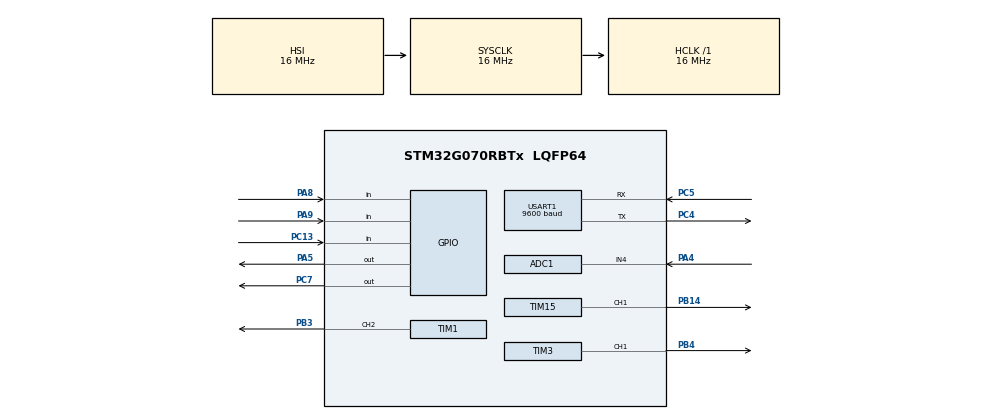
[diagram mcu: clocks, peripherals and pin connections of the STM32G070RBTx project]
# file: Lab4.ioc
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ADC1.Channel-0\#ChannelRegularConversion=ADC_CHANNEL_4
ADC1.NbrOfConversionFlag=1
ADC1.Rank-0\#ChannelRegularConversion=1
ADC1.SamplingTime-0\#ChannelRegularConversion=ADC_SAMPLINGTIME_COMMON_1
ADC1.SelectedChannel=ADC_CHANNEL_4
ADC1.master=1
Mcu.Family=STM32G0
Mcu.Name=STM32G070RBTx
Mcu.Package=LQFP64
NVIC.ADC1_IRQn=true\:0\:0\:false\:false\:true\:true\:true
PA4.Mode=IN4
PA4.Signal=ADC1_IN4
PA5.Signal=GPIO_Output
PA8.Signal=GPIO_Input
PA9.Signal=GPIO_Input
PB14.Signal=S_TIM15_CH1
PB3.Signal=S_TIM1_CH2
PB4.Signal=S_TIM3_CH1
PC13.Signal=GPIO_Input
PC4.Mode=Asynchronous
PC4.Signal=USART1_TX
PC5.Mode=Asynchronous
PC5.Signal=USART1_RX
PC7.Signal=GPIO_Output
ProjectManager.HeapSize=0x200
ProjectManager.StackSize=0x400
ProjectManager.TargetToolchain=EWARM V8.32
RCC.AHBFreq_Value=16000000
RCC.CortexFreq_Value=16000000
RCC.EXTERNAL_CLOCK_VALUE=48000
RCC.HCLKFreq_Value=16000000
RCC.HSE_VALUE=8000000
RCC.HSI_VALUE=16000000
RCC.LSE_VALUE=32768
RCC.SYSCLKFreq_VALUE=16000000
RCC.VCOOutputFreq_Value=128000000
SH.S_TIM15_CH1.0=TIM15_CH1,PWM Generation1 CH1
SH.S_TIM1_CH2.0=TIM1_CH2,PWM Generation2 CH2
SH.S_TIM3_CH1.0=TIM3_CH1,PWM Generation1 CH1
TIM1.Channel-PWM\ Generation2\ CH2=TIM_CHANNEL_2
TIM15.Channel-PWM\ Generation1\ CH1=TIM_CHANNEL_1
TIM3.Channel-PWM\ Generation1\ CH1=TIM_CHANNEL_1
USART1.BaudRate=9600
USART1.VirtualMode-Asynchronous=VM_ASYNC
VP_SYS_VS_DBSignals.Mode=DisableDeadBatterySignals
VP_TIM15_VS_ClockSourceINT.Mode=Internal
VP_TIM1_VS_ClockSourceINT.Mode=Internal
VP_TIM3_VS_ClockSourceINT.Mode=Internal
board=custom

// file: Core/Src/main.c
/* USER CODE BEGIN Header */
/**
  ******************************************************************************
  * @file           : main.c
  * @brief          : Main program body
  ******************************************************************************
  * @attention
  *
  * <h2><center>&copy; Copyright (c) 2021 STMicroelectronics.
  * All rights reserved.</center></h2>
  *
  * This software component is licensed by ST under BSD 3-Clause license,
  * the "License"; You may not use this file except in compliance with the
  * License. You may obtain a copy of the License at:
  *                        opensource.org/licenses/BSD-3-Clause
  *
  ******************************************************************************
  */
/* USER CODE END Header */
#include "main.h"

/* USER CODE BEGIN Includes */
#include "KeyboardHoldRepeat.h"
#include "waveform_16.h"

/* USER CODE END Includes */

ADC_HandleTypeDef hadc1;

TIM_HandleTypeDef htim1;
TIM_HandleTypeDef htim3;
TIM_HandleTypeDef htim15;

UART_HandleTypeDef huart1;

/* USER CODE BEGIN PV */
// scheduler stuff
extern uint8_t ten_mS_Flag;
extern uint8_t twentyfive_mS_Flag;
extern uint8_t hundred_mS_Flag;
extern uint8_t one_S_Flag;

// LED Control
TIM_OC_InitTypeDef rConfigOC = {0}; // timer 1
TIM_OC_InitTypeDef gConfigOC = {0}; // timer 3
TIM_OC_InitTypeDef bConfigOC = {0}; // timer 15

#define LED_RAMP_TABLE half_sine_table_16_256
//#define LED_RAMP_TABLE linear_ramp_table_16_256
//#define LED_RAMP_TABLE triangle_wave_table_16_256
#define R_INDEX_START 0
#define G_INDEX_START 86
#define B_INDEX_START 172
uint8_t rIndex = R_INDEX_START;
uint8_t gIndex = G_INDEX_START;
uint8_t bIndex = B_INDEX_START;
uint8_t rampRed = true;
uint8_t rampGreen = true;
uint8_t rampBlue = true;

// Keyboard
uint8_t keyCode = NO_KEY_PRESSED;

/* USER CODE END PV */

void SystemClock_Config(void);
static void MX_GPIO_Init(void);
static void MX_ADC1_Init(void);
static void MX_TIM1_Init(void);
static void MX_TIM3_Init(void);
static void MX_TIM15_Init(void);
static void MX_USART1_UART_Init(void);
/* USER CODE BEGIN PFP */
void InitValuesPWM(void);
void SetRedLedLevel(uint16_t r_level);
void SetGreenLedLevel(uint16_t g_level);
void SetBlueLedLevel(uint16_t b_level);
/* USER CODE END PFP */

int main(void)
{

  /* MCU Configuration--------------------------------------------------------*/

  /* Reset of all peripherals, Initializes the Flash interface and the Systick. */
  HAL_Init();

  /* Configure the system clock */
  SystemClock_Config();

  /* Initialize all configured peripherals */
  MX_GPIO_Init();
  MX_ADC1_Init();
  MX_TIM1_Init();
  MX_TIM3_Init();
  MX_TIM15_Init();
  MX_USART1_UART_Init();
  /* USER CODE BEGIN 2 */
  HAL_UART_Transmit(&huart1,"Mornin'!\r\n", 10, 1000);
  void InitValuesPWM(void);

  HAL_TIM_PWM_Start_IT(&htim15, TIM_CHANNEL_1);
  HAL_TIM_PWM_Start_IT(&htim3, TIM_CHANNEL_1);
  HAL_TIM_PWM_Start_IT(&htim1, TIM_CHANNEL_2);

  SetRedLedLevel(38000);
  SetGreenLedLevel(38000);
  SetBlueLedLevel(38000);

  while(1);

  /* USER CODE END 2 */

  /* Infinite loop */
  /* USER CODE BEGIN WHILE */
  while (1)
  {
    //---------------------------------
    // 10mS Tasks
    if (ten_mS_Flag) {
      ten_mS_Flag = false;

    }  // end of 10mS Tasks
    //---------------------------------

    //---------------------------------
    // 25mS Tasks
    if (twentyfive_mS_Flag) {
      twentyfive_mS_Flag = false;

      keyCode = ScanKeyboard();
      DebounceKeyCode(keyCode);

      // If we've gotten a valid debounced keyCode, process it
      if (processKeyCode == true) {
        ProcessKeyCode(keyCode);
      }

    }  // end of 25mS Tasks
    //---------------------------------

    //---------------------------------
    // 100mS Tasks
    if (hundred_mS_Flag) {
      hundred_mS_Flag = false;

      HAL_ADC_Start_IT(&hadc1);

      if (rampRed == true) {
        SetRedLedLevel(LED_RAMP_TABLE[rIndex]);
        rIndex++;
      }

      if (rampGreen == true) {
        SetGreenLedLevel(LED_RAMP_TABLE[gIndex]);
        gIndex++;
      }

      if (rampBlue == true) {
        SetBlueLedLevel(LED_RAMP_TABLE[bIndex]);
        bIndex++;
      }

    }  // end of 100mS Tasks
    //---------------------------------

    //---------------------------------
    // 1 Sec Tasks
    if (one_S_Flag) {
      one_S_Flag = false;

    } // end of 1Sec Tasks
    //---------------------------------

    //---------------------------------
    // Every time through the loop

    // end Every time through the loop
    //---------------------------------

    /* USER CODE END WHILE */

  }
}

void SystemClock_Config(void)
{
  RCC_OscInitTypeDef RCC_OscInitStruct = {0};
  RCC_ClkInitTypeDef RCC_ClkInitStruct = {0};
  RCC_PeriphCLKInitTypeDef PeriphClkInit = {0};

  /** Configure the main internal regulator output voltage
  */
  HAL_PWREx_ControlVoltageScaling(PWR_REGULATOR_VOLTAGE_SCALE1);
  /** Initializes the RCC Oscillators according to the specified parameters
  * in the RCC_OscInitTypeDef structure.
  */
  RCC_OscInitStruct.OscillatorType = RCC_OSCILLATORTYPE_HSI;
  RCC_OscInitStruct.HSIState = RCC_HSI_ON;
  RCC_OscInitStruct.HSIDiv = RCC_HSI_DIV1;
  RCC_OscInitStruct.HSICalibrationValue = RCC_HSICALIBRATION_DEFAULT;
  RCC_OscInitStruct.PLL.PLLState = RCC_PLL_NONE;
  if (HAL_RCC_OscConfig(&RCC_OscInitStruct) != HAL_OK)
  {
    Error_Handler();
  }
  /** Initializes the CPU, AHB and APB buses clocks
  */
  RCC_ClkInitStruct.ClockType = RCC_CLOCKTYPE_HCLK|RCC_CLOCKTYPE_SYSCLK
                              |RCC_CLOCKTYPE_PCLK1;
  RCC_ClkInitStruct.SYSCLKSource = RCC_SYSCLKSOURCE_HSI;
  RCC_ClkInitStruct.AHBCLKDivider = RCC_SYSCLK_DIV1;
  RCC_ClkInitStruct.APB1CLKDivider = RCC_HCLK_DIV1;

  if (HAL_RCC_ClockConfig(&RCC_ClkInitStruct, FLASH_LATENCY_0) != HAL_OK)
  {
    Error_Handler();
  }
  /** Initializes the peripherals clocks
  */
  PeriphClkInit.PeriphClockSelection = RCC_PERIPHCLK_USART1|RCC_PERIPHCLK_ADC;
  PeriphClkInit.Usart1ClockSelection = RCC_USART1CLKSOURCE_PCLK1;
  PeriphClkInit.AdcClockSelection = RCC_ADCCLKSOURCE_SYSCLK;
  if (HAL_RCCEx_PeriphCLKConfig(&PeriphClkInit) != HAL_OK)
  {
    Error_Handler();
  }
}

static void MX_ADC1_Init(void)
{

  ADC_ChannelConfTypeDef sConfig = {0};

  /** Configure the global features of the ADC (Clock, Resolution, Data Alignment and number of conversion)
  */
  hadc1.Instance = ADC1;
  hadc1.Init.ClockPrescaler = ADC_CLOCK_SYNC_PCLK_DIV2;
  hadc1.Init.Resolution = ADC_RESOLUTION_12B;
  hadc1.Init.DataAlign = ADC_DATAALIGN_RIGHT;
  hadc1.Init.ScanConvMode = ADC_SCAN_DISABLE;
  hadc1.Init.EOCSelection = ADC_EOC_SINGLE_CONV;
  hadc1.Init.LowPowerAutoWait = DISABLE;
  hadc1.Init.LowPowerAutoPowerOff = DISABLE;
  hadc1.Init.ContinuousConvMode = DISABLE;
  hadc1.Init.NbrOfConversion = 1;
  hadc1.Init.DiscontinuousConvMode = DISABLE;
  hadc1.Init.ExternalTrigConv = ADC_SOFTWARE_START;
  hadc1.Init.ExternalTrigConvEdge = ADC_EXTERNALTRIGCONVEDGE_NONE;
  hadc1.Init.DMAContinuousRequests = DISABLE;
  hadc1.Init.Overrun = ADC_OVR_DATA_PRESERVED;
  hadc1.Init.SamplingTimeCommon1 = ADC_SAMPLETIME_1CYCLE_5;
  hadc1.Init.SamplingTimeCommon2 = ADC_SAMPLETIME_1CYCLE_5;
  hadc1.Init.OversamplingMode = DISABLE;
  hadc1.Init.TriggerFrequencyMode = ADC_TRIGGER_FREQ_HIGH;
  if (HAL_ADC_Init(&hadc1) != HAL_OK)
  {
    Error_Handler();
  }
  /** Configure Regular Channel
  */
  sConfig.Channel = ADC_CHANNEL_4;
  sConfig.Rank = ADC_REGULAR_RANK_1;
  sConfig.SamplingTime = ADC_SAMPLINGTIME_COMMON_1;
  if (HAL_ADC_ConfigChannel(&hadc1, &sConfig) != HAL_OK)
  {
    Error_Handler();
  }

}

static void MX_TIM1_Init(void)
{

  TIM_ClockConfigTypeDef sClockSourceConfig = {0};
  TIM_MasterConfigTypeDef sMasterConfig = {0};
  TIM_OC_InitTypeDef sConfigOC = {0};
  TIM_BreakDeadTimeConfigTypeDef sBreakDeadTimeConfig = {0};

  htim1.Instance = TIM1;
  htim1.Init.Prescaler = 0;
  htim1.Init.CounterMode = TIM_COUNTERMODE_UP;
  htim1.Init.Period = 65535;
  htim1.Init.ClockDivision = TIM_CLOCKDIVISION_DIV1;
  htim1.Init.RepetitionCounter = 0;
  htim1.Init.AutoReloadPreload = TIM_AUTORELOAD_PRELOAD_DISABLE;
  if (HAL_TIM_Base_Init(&htim1) != HAL_OK)
  {
    Error_Handler();
  }
  sClockSourceConfig.ClockSource = TIM_CLOCKSOURCE_INTERNAL;
  if (HAL_TIM_ConfigClockSource(&htim1, &sClockSourceConfig) != HAL_OK)
  {
    Error_Handler();
  }
  if (HAL_TIM_PWM_Init(&htim1) != HAL_OK)
  {
    Error_Handler();
  }
  sMasterConfig.MasterOutputTrigger = TIM_TRGO_RESET;
  sMasterConfig.MasterOutputTrigger2 = TIM_TRGO2_RESET;
  sMasterConfig.MasterSlaveMode = TIM_MASTERSLAVEMODE_DISABLE;
  if (HAL_TIMEx_MasterConfigSynchronization(&htim1, &sMasterConfig) != HAL_OK)
  {
    Error_Handler();
  }
  sConfigOC.OCMode = TIM_OCMODE_PWM1;
  sConfigOC.Pulse = 0;
  sConfigOC.OCPolarity = TIM_OCPOLARITY_HIGH;
  sConfigOC.OCNPolarity = TIM_OCNPOLARITY_HIGH;
  sConfigOC.OCFastMode = TIM_OCFAST_DISABLE;
  sConfigOC.OCIdleState = TIM_OCIDLESTATE_RESET;
  sConfigOC.OCNIdleState = TIM_OCNIDLESTATE_RESET;
  if (HAL_TIM_PWM_ConfigChannel(&htim1, &sConfigOC, TIM_CHANNEL_2) != HAL_OK)
  {
    Error_Handler();
  }
  sBreakDeadTimeConfig.OffStateRunMode = TIM_OSSR_DISABLE;
  sBreakDeadTimeConfig.OffStateIDLEMode = TIM_OSSI_DISABLE;
  sBreakDeadTimeConfig.LockLevel = TIM_LOCKLEVEL_OFF;
  sBreakDeadTimeConfig.DeadTime = 0;
  sBreakDeadTimeConfig.BreakState = TIM_BREAK_DISABLE;
  sBreakDeadTimeConfig.BreakPolarity = TIM_BREAKPOLARITY_HIGH;
  sBreakDeadTimeConfig.BreakFilter = 0;
  sBreakDeadTimeConfig.BreakAFMode = TIM_BREAK_AFMODE_INPUT;
  sBreakDeadTimeConfig.Break2State = TIM_BREAK2_DISABLE;
  sBreakDeadTimeConfig.Break2Polarity = TIM_BREAK2POLARITY_HIGH;
  sBreakDeadTimeConfig.Break2Filter = 0;
  sBreakDeadTimeConfig.Break2AFMode = TIM_BREAK_AFMODE_INPUT;
  sBreakDeadTimeConfig.AutomaticOutput = TIM_AUTOMATICOUTPUT_DISABLE;
  if (HAL_TIMEx_ConfigBreakDeadTime(&htim1, &sBreakDeadTimeConfig) != HAL_OK)
  {
    Error_Handler();
  }
  HAL_TIM_MspPostInit(&htim1);

}

static void MX_TIM3_Init(void)
{

  TIM_ClockConfigTypeDef sClockSourceConfig = {0};
  TIM_MasterConfigTypeDef sMasterConfig = {0};
  TIM_OC_InitTypeDef sConfigOC = {0};

  htim3.Instance = TIM3;
  htim3.Init.Prescaler = 0;
  htim3.Init.CounterMode = TIM_COUNTERMODE_UP;
  htim3.Init.Period = 65535;
  htim3.Init.ClockDivision = TIM_CLOCKDIVISION_DIV1;
  htim3.Init.AutoReloadPreload = TIM_AUTORELOAD_PRELOAD_DISABLE;
  if (HAL_TIM_Base_Init(&htim3) != HAL_OK)
  {
    Error_Handler();
  }
  sClockSourceConfig.ClockSource = TIM_CLOCKSOURCE_INTERNAL;
  if (HAL_TIM_ConfigClockSource(&htim3, &sClockSourceConfig) != HAL_OK)
  {
    Error_Handler();
  }
  if (HAL_TIM_PWM_Init(&htim3) != HAL_OK)
  {
    Error_Handler();
  }
  sMasterConfig.MasterOutputTrigger = TIM_TRGO_RESET;
  sMasterConfig.MasterSlaveMode = TIM_MASTERSLAVEMODE_DISABLE;
  if (HAL_TIMEx_MasterConfigSynchronization(&htim3, &sMasterConfig) != HAL_OK)
  {
    Error_Handler();
  }
  sConfigOC.OCMode = TIM_OCMODE_PWM1;
  sConfigOC.Pulse = 0;
  sConfigOC.OCPolarity = TIM_OCPOLARITY_HIGH;
  sConfigOC.OCFastMode = TIM_OCFAST_DISABLE;
  if (HAL_TIM_PWM_ConfigChannel(&htim3, &sConfigOC, TIM_CHANNEL_1) != HAL_OK)
  {
    Error_Handler();
  }
  HAL_TIM_MspPostInit(&htim3);

}

static void MX_TIM15_Init(void)
{

  TIM_ClockConfigTypeDef sClockSourceConfig = {0};
  TIM_MasterConfigTypeDef sMasterConfig = {0};
  TIM_OC_InitTypeDef sConfigOC = {0};
  TIM_BreakDeadTimeConfigTypeDef sBreakDeadTimeConfig = {0};

  htim15.Instance = TIM15;
  htim15.Init.Prescaler = 0;
  htim15.Init.CounterMode = TIM_COUNTERMODE_UP;
  htim15.Init.Period = 65535;
  htim15.Init.ClockDivision = TIM_CLOCKDIVISION_DIV1;
  htim15.Init.RepetitionCounter = 0;
  htim15.Init.AutoReloadPreload = TIM_AUTORELOAD_PRELOAD_DISABLE;
  if (HAL_TIM_Base_Init(&htim15) != HAL_OK)
  {
    Error_Handler();
  }
  sClockSourceConfig.ClockSource = TIM_CLOCKSOURCE_INTERNAL;
  if (HAL_TIM_ConfigClockSource(&htim15, &sClockSourceConfig) != HAL_OK)
  {
    Error_Handler();
  }
  if (HAL_TIM_PWM_Init(&htim15) != HAL_OK)
  {
    Error_Handler();
  }
  sMasterConfig.MasterOutputTrigger = TIM_TRGO_RESET;
  sMasterConfig.MasterSlaveMode = TIM_MASTERSLAVEMODE_DISABLE;
  if (HAL_TIMEx_MasterConfigSynchronization(&htim15, &sMasterConfig) != HAL_OK)
  {
    Error_Handler();
  }
  sConfigOC.OCMode = TIM_OCMODE_PWM1;
  sConfigOC.Pulse = 0;
  sConfigOC.OCPolarity = TIM_OCPOLARITY_HIGH;
  sConfigOC.OCNPolarity = TIM_OCNPOLARITY_HIGH;
  sConfigOC.OCFastMode = TIM_OCFAST_DISABLE;
  sConfigOC.OCIdleState = TIM_OCIDLESTATE_RESET;
  sConfigOC.OCNIdleState = TIM_OCNIDLESTATE_RESET;
  if (HAL_TIM_PWM_ConfigChannel(&htim15, &sConfigOC, TIM_CHANNEL_1) != HAL_OK)
  {
    Error_Handler();
  }
  sBreakDeadTimeConfig.OffStateRunMode = TIM_OSSR_DISABLE;
  sBreakDeadTimeConfig.OffStateIDLEMode = TIM_OSSI_DISABLE;
  sBreakDeadTimeConfig.LockLevel = TIM_LOCKLEVEL_OFF;
  sBreakDeadTimeConfig.DeadTime = 0;
  sBreakDeadTimeConfig.BreakState = TIM_BREAK_DISABLE;
  sBreakDeadTimeConfig.BreakPolarity = TIM_BREAKPOLARITY_HIGH;
  sBreakDeadTimeConfig.BreakFilter = 0;
  sBreakDeadTimeConfig.AutomaticOutput = TIM_AUTOMATICOUTPUT_DISABLE;
  if (HAL_TIMEx_ConfigBreakDeadTime(&htim15, &sBreakDeadTimeConfig) != HAL_OK)
  {
    Error_Handler();
  }
  HAL_TIM_MspPostInit(&htim15);

}

static void MX_USART1_UART_Init(void)
{

  huart1.Instance = USART1;
  huart1.Init.BaudRate = 9600;
  huart1.Init.WordLength = UART_WORDLENGTH_8B;
  huart1.Init.StopBits = UART_STOPBITS_1;
  huart1.Init.Parity = UART_PARITY_NONE;
  huart1.Init.Mode = UART_MODE_TX_RX;
  huart1.Init.HwFlowCtl = UART_HWCONTROL_NONE;
  huart1.Init.OverSampling = UART_OVERSAMPLING_16;
  huart1.Init.OneBitSampling = UART_ONE_BIT_SAMPLE_DISABLE;
  huart1.Init.ClockPrescaler = UART_PRESCALER_DIV1;
  huart1.AdvancedInit.AdvFeatureInit = UART_ADVFEATURE_NO_INIT;
  if (HAL_UART_Init(&huart1) != HAL_OK)
  {
    Error_Handler();
  }
  if (HAL_UARTEx_SetTxFifoThreshold(&huart1, UART_TXFIFO_THRESHOLD_1_8) != HAL_OK)
  {
    Error_Handler();
  }
  if (HAL_UARTEx_SetRxFifoThreshold(&huart1, UART_RXFIFO_THRESHOLD_1_8) != HAL_OK)
  {
    Error_Handler();
  }
  if (HAL_UARTEx_DisableFifoMode(&huart1) != HAL_OK)
  {
    Error_Handler();
  }

}

static void MX_GPIO_Init(void)
{
  GPIO_InitTypeDef GPIO_InitStruct = {0};

  /* GPIO Ports Clock Enable */
  __HAL_RCC_GPIOC_CLK_ENABLE();
  __HAL_RCC_GPIOA_CLK_ENABLE();
  __HAL_RCC_GPIOB_CLK_ENABLE();

  /*Configure GPIO pin Output Level */
  HAL_GPIO_WritePin(GPIOA, GPIO_PIN_5, GPIO_PIN_RESET);

  /*Configure GPIO pin Output Level */
  HAL_GPIO_WritePin(GPIOC, GPIO_PIN_7, GPIO_PIN_RESET);

  /*Configure GPIO pin : PC13 */
  GPIO_InitStruct.Pin = GPIO_PIN_13;
  GPIO_InitStruct.Mode = GPIO_MODE_INPUT;
  GPIO_InitStruct.Pull = GPIO_NOPULL;
  HAL_GPIO_Init(GPIOC, &GPIO_InitStruct);

  /*Configure GPIO pin : PA5 */
  GPIO_InitStruct.Pin = GPIO_PIN_5;
  GPIO_InitStruct.Mode = GPIO_MODE_OUTPUT_PP;
  GPIO_InitStruct.Pull = GPIO_NOPULL;
  GPIO_InitStruct.Speed = GPIO_SPEED_FREQ_LOW;
  HAL_GPIO_Init(GPIOA, &GPIO_InitStruct);

  /*Configure GPIO pins : PA8 PA9 */
  GPIO_InitStruct.Pin = GPIO_PIN_8|GPIO_PIN_9;
  GPIO_InitStruct.Mode = GPIO_MODE_INPUT;
  GPIO_InitStruct.Pull = GPIO_NOPULL;
  HAL_GPIO_Init(GPIOA, &GPIO_InitStruct);

  /*Configure GPIO pin : PC7 */
  GPIO_InitStruct.Pin = GPIO_PIN_7;
  GPIO_InitStruct.Mode = GPIO_MODE_OUTPUT_PP;
  GPIO_InitStruct.Pull = GPIO_NOPULL;
  GPIO_InitStruct.Speed = GPIO_SPEED_FREQ_LOW;
  HAL_GPIO_Init(GPIOC, &GPIO_InitStruct);

}

/* USER CODE BEGIN 4 */
void InitValuesPWM(void)
{
  // timer 1
  rConfigOC.OCMode = TIM_OCMODE_PWM1;
  rConfigOC.Pulse = 0;
  rConfigOC.OCPolarity = TIM_OCPOLARITY_HIGH;
  rConfigOC.OCNPolarity = TIM_OCNPOLARITY_HIGH;
  rConfigOC.OCFastMode = TIM_OCFAST_DISABLE;
  rConfigOC.OCIdleState = TIM_OCIDLESTATE_RESET;
  rConfigOC.OCNIdleState = TIM_OCNIDLESTATE_RESET;

  // timer 3
  gConfigOC.OCMode = TIM_OCMODE_PWM1;
  gConfigOC.Pulse = 0;
  gConfigOC.OCPolarity = TIM_OCPOLARITY_HIGH;
  gConfigOC.OCFastMode = TIM_OCFAST_DISABLE;

  // timer 15
  bConfigOC.OCMode = TIM_OCMODE_PWM1;
  bConfigOC.Pulse = 0;
  bConfigOC.OCPolarity = TIM_OCPOLARITY_HIGH;
  bConfigOC.OCNPolarity = TIM_OCNPOLARITY_HIGH;
  bConfigOC.OCFastMode = TIM_OCFAST_DISABLE;
  bConfigOC.OCIdleState = TIM_OCIDLESTATE_RESET;
  bConfigOC.OCNIdleState = TIM_OCNIDLESTATE_RESET;

}

void SetRedLedLevel(uint16_t r_level)
{
  TIM_OC_InitTypeDef sConfigOC = {0};

  sConfigOC.OCMode = TIM_OCMODE_PWM1;
  sConfigOC.Pulse = r_level;
  sConfigOC.OCPolarity = TIM_OCPOLARITY_HIGH;
  sConfigOC.OCNPolarity = TIM_OCNPOLARITY_HIGH;
  sConfigOC.OCFastMode = TIM_OCFAST_DISABLE;
  sConfigOC.OCIdleState = TIM_OCIDLESTATE_RESET;
  sConfigOC.OCNIdleState = TIM_OCNIDLESTATE_RESET;

  HAL_TIM_PWM_Stop(&htim1, TIM_CHANNEL_2);
  HAL_TIM_PWM_ConfigChannel(&htim1, &sConfigOC, TIM_CHANNEL_2);
  HAL_TIM_PWM_Start(&htim1, TIM_CHANNEL_2);
}

void SetGreenLedLevel(uint16_t g_level)
{
  TIM_OC_InitTypeDef sConfigOC = {0};

  sConfigOC.OCMode = TIM_OCMODE_PWM1;
  sConfigOC.Pulse = g_level;
  sConfigOC.OCPolarity = TIM_OCPOLARITY_HIGH;
  sConfigOC.OCFastMode = TIM_OCFAST_DISABLE;

  HAL_TIM_PWM_Stop(&htim3, TIM_CHANNEL_1);
  HAL_TIM_PWM_ConfigChannel(&htim3, &sConfigOC, TIM_CHANNEL_1);
  HAL_TIM_PWM_Start(&htim3, TIM_CHANNEL_1);
}

void SetBlueLedLevel(uint16_t b_level)
{
  TIM_OC_InitTypeDef sConfigOC = {0};

  sConfigOC.OCMode = TIM_OCMODE_PWM1;
  sConfigOC.Pulse = b_level;
  sConfigOC.OCPolarity = TIM_OCPOLARITY_HIGH;
  sConfigOC.OCNPolarity = TIM_OCNPOLARITY_HIGH;
  sConfigOC.OCFastMode = TIM_OCFAST_DISABLE;
  sConfigOC.OCIdleState = TIM_OCIDLESTATE_RESET;
  sConfigOC.OCNIdleState = TIM_OCNIDLESTATE_RESET;

  HAL_TIM_PWM_Stop(&htim15, TIM_CHANNEL_1);
  HAL_TIM_PWM_ConfigChannel(&htim15, &sConfigOC, TIM_CHANNEL_1);
  HAL_TIM_PWM_Start(&htim15, TIM_CHANNEL_1);
}

/* USER CODE END 4 */

void Error_Handler(void)
{
  __disable_irq();
  while (1)
  {
  }
}

/************************ (C) COPYRIGHT STMicroelectronics *****END OF FILE****/
